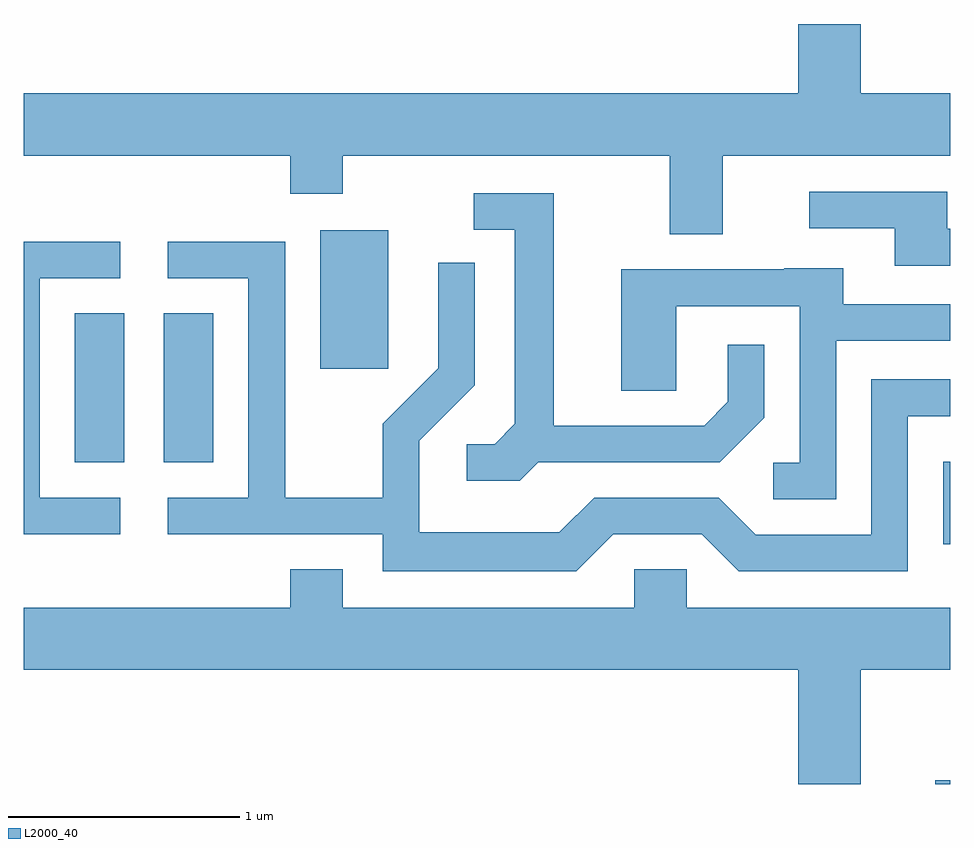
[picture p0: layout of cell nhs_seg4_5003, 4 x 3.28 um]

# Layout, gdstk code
import gdstk
lib = gdstk.Library(unit=1e-6, precision=1e-09)
def R(c, l, rs):  # rectangles x0, y0, x1, y1
    for r in rs: c.add(gdstk.rectangle(r[:2], r[2:], *l))
def P(c, l, *ps):  # polygons
    for p in ps: c.add(gdstk.Polygon(p, *l))
L2000_40 = (2000, 40)

nhs_seg4_5003 = lib.new_cell('nhs_seg4_5003')
R(nhs_seg4_5003, L2000_40, [(335.546,1331.982,335.611,1331.999), (335.581,1333.018,335.611,1333.374), (331.831,1333.371,332.044,1334.014), (332.216,1333.371,332.429,1334.014), (332.891,1333.776,333.184,1334.374)])
P(nhs_seg4_5003, L2000_40, [(334.629,1334.696),(335.611,1334.696),(335.611,1334.964),(335.224,1334.964),(335.224,1335.264),(334.956,1335.264),(334.956,1334.964),(331.611,1334.964),(331.611,1334.696),(332.761,1334.696),(332.761,1334.531),(332.989,1334.531),(332.989,1334.696),(334.401,1334.696),(334.401,1334.356),(334.629,1334.356)],
  [(335.611,1334.379),(335.599,1334.379),(335.599,1334.539),(335.003,1334.539),(335.003,1334.381),(335.371,1334.381),(335.371,1334.221),(335.611,1334.221)],
  [(333.832,1333.371),(334.617,1333.371),(334.809,1333.564),(334.809,1333.878),(334.651,1333.878),(334.651,1333.632),(334.549,1333.529),(333.899,1333.529),(333.899,1334.534),(333.553,1334.534),(333.553,1334.376),(333.731,1334.376),(333.731,1333.537),(333.644,1333.449),(333.523,1333.449),(333.523,1333.291),(333.752,1333.291)],
  [(334.157,1333.061),(334.539,1333.061),(334.699,1332.901),(335.429,1332.901),(335.429,1333.571),(335.611,1333.571),(335.611,1333.729),(335.271,1333.729),(335.271,1333.059),(334.772,1333.059),(334.612,1333.219),(334.074,1333.219),(333.924,1333.069),(333.319,1333.069),(333.319,1333.464),(333.559,1333.704),(333.559,1334.233),(333.401,1334.233),(333.401,1333.777),(333.161,1333.537),(333.161,1333.219),(332.739,1333.219),(332.739,1334.324),(332.233,1334.324),(332.233,1334.166),(332.581,1334.166),(332.581,1333.219),(332.233,1333.219),(332.233,1333.061),(333.161,1333.061),(333.161,1332.901),(333.997,1332.901)],
  [(332.028,1333.219),(331.679,1333.219),(331.679,1334.166),(332.028,1334.166),(332.028,1334.324),(331.611,1334.324),(331.611,1333.061),(332.028,1333.061)],
  [(335.119,1333.896),(335.611,1333.896),(335.611,1334.054),(335.149,1334.054),(335.149,1334.209),(334.895,1334.209),(334.895,1334.204),(334.191,1334.204),(334.191,1333.681),(334.429,1333.681),(334.429,1334.046),(334.961,1334.046),(334.961,1333.369),(334.848,1333.369),(334.848,1333.211),(335.119,1333.211)],
  [(335.224,1332.476),(335.611,1332.476),(335.611,1332.744),(334.474,1332.744),(334.474,1332.909),(334.246,1332.909),(334.246,1332.744),(332.989,1332.744),(332.989,1332.909),(332.761,1332.909),(332.761,1332.744),(331.611,1332.744),(331.611,1332.476),(334.956,1332.476),(334.956,1331.982),(335.224,1331.982)])

lib.write_gds('nhs_seg4_5003.gds')
